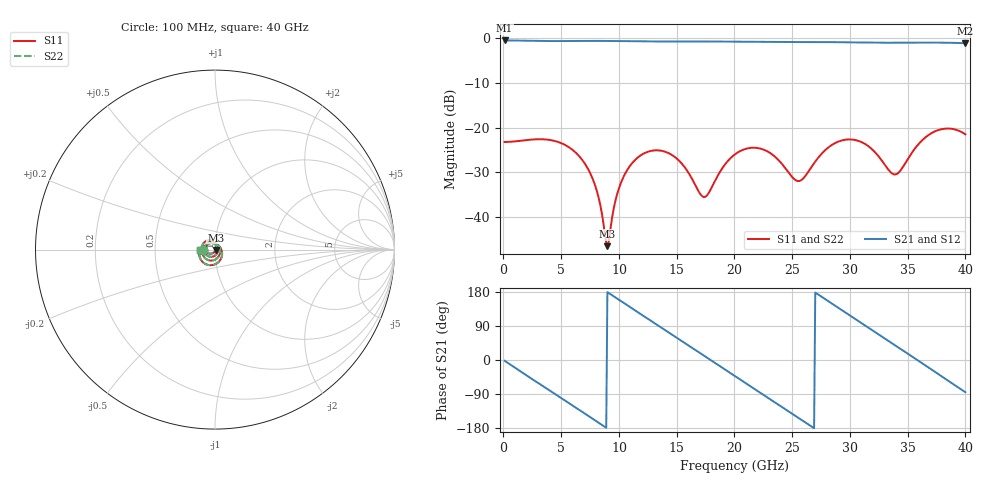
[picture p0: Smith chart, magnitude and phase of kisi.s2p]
! thru_s8x4_L3: 2×thru, L3, 8 mm
! stackup: 8-layer 1.6 mm FR-4 without the L4 plane
! ports: 1, 2
! kisi-fdtd, conformal, dfine 0.035 mm, 413725 cells
# Hz S RI R 50
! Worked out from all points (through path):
!   400 points, 100 MHz to 40 GHz, reference 50 ohm
!   highest |S21| = -0.57 dB at 100 MHz (marker M1); lowest = -1.2 dB at 40 GHz (marker M2)
!   group delay of S21, straight-line fit = 55.8 ps
!   lowest |S11| = -46.5 dB at 9 GHz (marker M3), VSWR 1.01, Z = 50.4 - j0.193 ohm
!   |S11| at or under -10 dB: start of sweep to end of sweep
!   |S22| runs from -46.5 to -20.2 dB; largest |S21 - S12| = 0
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1e8  -0.069 0.000525  0.9361 -0.0334  0.9361 -0.0334  -0.069 0.000525
1.7e9  -0.0708 0.0113  0.7669 -0.5288  0.7669 -0.5288  -0.0708 0.0113
3.6e9  -0.0654 0.0341  0.2762 -0.8807  0.2762 -0.8807  -0.0654 0.0341
5.2e9  -0.0418 0.0501  -0.229 -0.8936  -0.229 -0.8936  -0.0418 0.0501
6.8e9  -0.00898 0.043  -0.6706 -0.6378  -0.6706 -0.6378  -0.00898 0.043
8.1e9  0.0064 0.0183  -0.8843 -0.2755  -0.8843 -0.2755  0.0064 0.0183
9e9  0.00435 -0.00191  -0.9249 0.0145  -0.9249 0.0145  0.00435 -0.00191
9.7e9  -0.00456 -0.0146  -0.8915 0.2394  -0.8915 0.2394  -0.00456 -0.0146
1.05e10  -0.0201 -0.0223  -0.7878 0.4759  -0.7878 0.4759  -0.0201 -0.0223
1.34e10  -0.0529 0.0174  -0.0147 0.9121  -0.0147 0.9121  -0.0529 0.0174
1.51e10  -0.0215 0.0384  0.4967 0.7646  0.4967 0.7646  -0.0215 0.0384
1.7e10  0.0152 0.0106  0.8634 0.2947  0.8634 0.2947  0.0152 0.0106
2.01e10  -0.0332 -0.0385  0.6566 -0.6258  0.6566 -0.6258  -0.0332 -0.0385
2.32e10  -0.041 0.0301  -0.2436 -0.8657  -0.2436 -0.8657  -0.041 0.0301
2.54e10  0.0198 0.016  -0.7764 -0.4524  -0.7764 -0.4524  0.0198 0.016
2.67e10  0.0259 -0.0261  -0.8966 -0.0634  -0.8966 -0.0634  0.0259 -0.0261
2.84e10  -0.0175 -0.061  -0.7743 0.4533  -0.7743 0.4533  -0.0175 -0.061
3.03e10  -0.0683 -0.0263  -0.3232 0.8312  -0.3232 0.8312  -0.0683 -0.0263
3.34e10  0.00364 0.0328  0.5791 0.6677  0.5791 0.6677  0.00364 0.0328
3.65e10  0.0112 -0.0761  0.8624 -0.2074  0.8624 -0.2074  0.0112 -0.0761
3.84e10  -0.0681 -0.0697  0.5389 -0.7004  0.5389 -0.7004  -0.0681 -0.0697
4e10  -0.084 -0.00224  0.0761 -0.8704  0.0761 -0.8704  -0.084 -0.00224
